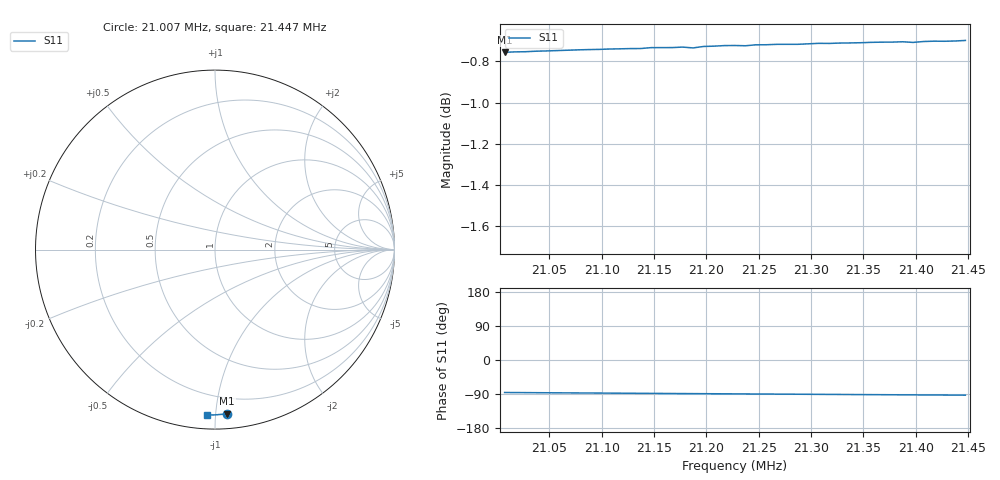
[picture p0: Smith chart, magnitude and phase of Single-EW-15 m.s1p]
# HZ S RI R 50
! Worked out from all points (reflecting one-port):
!   45 points, 21.007 MHz to 21.447 MHz, reference 50 ohm
!   lowest |S11| = -0.8 dB at 21.007 MHz (marker M1), VSWR 23.01, Z = 4.68 - j53.6 ohm
!   phase of S11 starts at -86 deg and turns -7 deg over the sweep
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2.10072e7  0.0678 -0.9142
2.102721e7  0.0624 -0.9149
2.103721e7  0.0595 -0.9153
2.106722e7  0.0516 -0.9163
2.107723e7  0.0488 -0.9167
2.108723e7  0.0464 -0.9169
2.110724e7  0.0409 -0.9175
2.111724e7  0.0384 -0.9177
2.113725e7  0.0329 -0.9181
2.114726e7  0.0304 -0.9186
2.116726e7  0.0252 -0.9188
2.117727e7  0.0226 -0.9191
2.118727e7  0.02 -0.9187
2.119728e7  0.0175 -0.9195
2.122729e7  0.00985 -0.9202
2.123729e7  0.00737 -0.92
2.12473e7  0.00457 -0.9206
2.12573e7  0.00229 -0.9206
2.12673e7  -0.000343 -0.9208
2.128731e7  -0.0053 -0.9208
2.129732e7  -0.00773 -0.921
2.130732e7  -0.0105 -0.9213
2.133733e7  -0.0178 -0.9214
2.134734e7  -0.0205 -0.9214
2.138735e7  -0.0303 -0.9216
2.139736e7  -0.0327 -0.9212
2.140736e7  -0.0353 -0.9216
2.144738e7  -0.045 -0.9217
